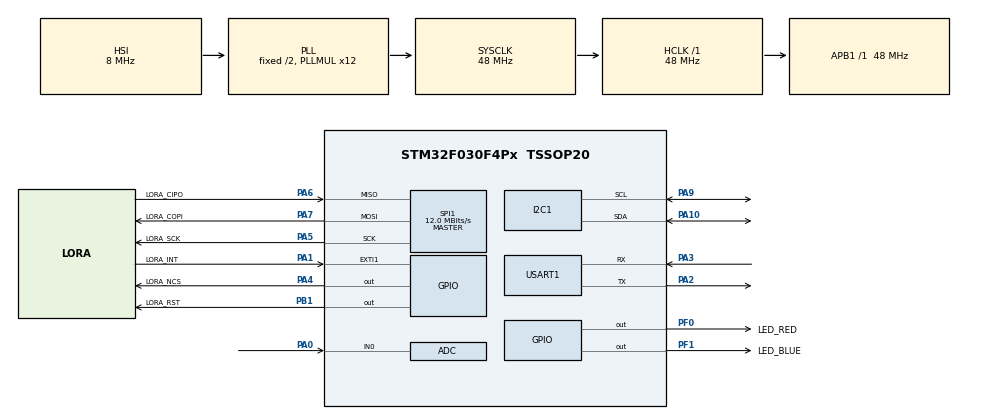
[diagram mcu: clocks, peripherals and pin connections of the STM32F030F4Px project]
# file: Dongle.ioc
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I2C1.Timing=0x20303E5D
Mcu.Family=STM32F0
Mcu.Name=STM32F030F4Px
Mcu.Package=TSSOP20
PA0.Mode=IN0
PA0.Signal=ADC_IN0
PA1.GPIO_Label=LORA_INT
PA1.Signal=GPXTI1
PA10.Mode=I2C
PA10.Signal=I2C1_SDA
PA13.Mode=Serial_Wire
PA13.Signal=SYS_SWDIO
PA14.Mode=Serial_Wire
PA14.Signal=SYS_SWCLK
PA2.Mode=Asynchronous
PA2.Signal=USART1_TX
PA3.Mode=Asynchronous
PA3.Signal=USART1_RX
PA4.GPIO_Label=LORA_NCS
PA4.Signal=GPIO_Output
PA5.GPIO_Label=LORA_SCK
PA5.Mode=Full_Duplex_Master
PA5.Signal=SPI1_SCK
PA6.GPIO_Label=LORA_CIPO
PA6.Mode=Full_Duplex_Master
PA6.Signal=SPI1_MISO
PA7.GPIO_Label=LORA_COPI
PA7.Mode=Full_Duplex_Master
PA7.Signal=SPI1_MOSI
PA9.Mode=I2C
PA9.Signal=I2C1_SCL
PB1.GPIO_Label=LORA_RST
PB1.Signal=GPIO_Output
PF0-OSC_IN.GPIO_Label=LED_RED
PF0-OSC_IN.Signal=GPIO_Output
PF1-OSC_OUT.GPIO_Label=LED_BLUE
PF1-OSC_OUT.Signal=GPIO_Output
ProjectManager.HeapSize=0x200
ProjectManager.StackSize=0x400
ProjectManager.TargetToolchain=Makefile
RCC.AHBFreq_Value=48000000
RCC.APB1Freq_Value=48000000
RCC.APB1TimFreq_Value=48000000
RCC.HCLKFreq_Value=48000000
RCC.HSE_VALUE=12000000
RCC.I2c1ClockSelection=RCC_I2C1CLKSOURCE_SYSCLK
RCC.PLLMUL=RCC_PLL_MUL12
RCC.SYSCLKFreq_VALUE=48000000
RCC.SYSCLKSource=RCC_SYSCLKSOURCE_PLLCLK
SPI1.BaudRatePrescaler=SPI_BAUDRATEPRESCALER_4
SPI1.CalculateBaudRate=12.0 MBits/s
SPI1.Direction=SPI_DIRECTION_2LINES
SPI1.Mode=SPI_MODE_MASTER
SPI1.VirtualType=VM_MASTER
USART1.VirtualMode-Asynchronous=VM_ASYNC
board=custom

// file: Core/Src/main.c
/* USER CODE BEGIN Header */
/**
  ******************************************************************************
  * @file           : main.c
  * @brief          : Main program body
  ******************************************************************************
  * @attention
  *
  * Copyright (c) 2022 STMicroelectronics.
  * All rights reserved.
  *
  * This software is licensed under terms that can be found in the LICENSE file
  * in the root directory of this software component.
  * If no LICENSE file comes with this software, it is provided AS-IS.
  *
  ******************************************************************************
  */
/* USER CODE END Header */
#include "main.h"

/* USER CODE BEGIN Includes */
#include "LoRa.h"
/* USER CODE END Includes */

/* USER CODE BEGIN PTD */
LoRa rxLoRa;
/* USER CODE END PTD */

ADC_HandleTypeDef hadc;

I2C_HandleTypeDef hi2c1;

SPI_HandleTypeDef hspi1;

UART_HandleTypeDef huart1;

/* USER CODE BEGIN PV */
uint8_t receiveData[3] = {0};
uint8_t transmitData[3] = {0};

/* USER CODE END PV */

void SystemClock_Config(void);
static void MX_GPIO_Init(void);
static void MX_ADC_Init(void);
static void MX_I2C1_Init(void);
static void MX_SPI1_Init(void);
static void MX_USART1_UART_Init(void);

int main(void)
{

  /* MCU Configuration--------------------------------------------------------*/

  /* Reset of all peripherals, Initializes the Flash interface and the Systick. */
  HAL_Init();

  /* Configure the system clock */
  SystemClock_Config();

  /* Initialize all configured peripherals */
  MX_GPIO_Init();
  MX_ADC_Init();
  MX_I2C1_Init();
  MX_SPI1_Init();
  MX_USART1_UART_Init();
  /* USER CODE BEGIN 2 */

  rxLoRa = newLoRa();
  rxLoRa.CS_port = LORA_NCS_GPIO_Port;
  rxLoRa.CS_pin = LORA_NCS_Pin;
  rxLoRa.reset_port = LORA_RST_GPIO_Port;
  rxLoRa.reset_pin = LORA_RST_Pin;
  rxLoRa.DIO0_port = LORA_INT_GPIO_Port;
  rxLoRa.DIO0_pin = LORA_INT_Pin;
  rxLoRa.hSPIx = &hspi1;

  rxLoRa.frequency = 433;             // default = 433 MHz
  rxLoRa.spredingFactor = SF_7;       // default = SF_7
  rxLoRa.bandWidth = BW_125KHz;       // default = BW_125KHz
  rxLoRa.crcRate = CR_4_5;            // default = CR_4_5
  rxLoRa.power = POWER_17db;          // default = 20db
  rxLoRa.overCurrentProtection = 100; // default = 100 mA
  rxLoRa.preamble = 10;               // default = 8;

  LoRa_reset(&rxLoRa);
  LoRa_init(&rxLoRa);

  /* USER CODE END 2 */

  /* Infinite loop */
  /* USER CODE BEGIN WHILE */
  LoRa_gotoMode(&rxLoRa, RXCONTIN_MODE);
  while (1)
  {
    /* USER CODE END WHILE */

    /* USER CODE BEGIN 3 */
    // HAL_GPIO_TogglePin(LED_BLUE_GPIO_Port,LED_BLUE_Pin);
    // HAL_Delay(200);
    // HAL_GPIO_TogglePin(LED_RED_GPIO_Port,LED_RED_Pin);
    if (LoRa_receive(&rxLoRa, receiveData, 3) == 3){
      if (receiveData[1] == 1){
        HAL_GPIO_WritePin(LED_BLUE_GPIO_Port,LED_BLUE_Pin,GPIO_PIN_SET);
        HAL_GPIO_WritePin(LED_RED_GPIO_Port,LED_RED_Pin,GPIO_PIN_RESET);
      }
      else if (receiveData[1] == 2){
        HAL_GPIO_WritePin(LED_RED_GPIO_Port,LED_RED_Pin,GPIO_PIN_SET);
        HAL_GPIO_WritePin(LED_BLUE_GPIO_Port,LED_BLUE_Pin,GPIO_PIN_RESET);
      }
    }
  }
  /* USER CODE END 3 */
}

void SystemClock_Config(void)
{
  RCC_OscInitTypeDef RCC_OscInitStruct = {0};
  RCC_ClkInitTypeDef RCC_ClkInitStruct = {0};
  RCC_PeriphCLKInitTypeDef PeriphClkInit = {0};

  /** Initializes the RCC Oscillators according to the specified parameters
  * in the RCC_OscInitTypeDef structure.
  */
  RCC_OscInitStruct.OscillatorType = RCC_OSCILLATORTYPE_HSI|RCC_OSCILLATORTYPE_HSI14;
  RCC_OscInitStruct.HSIState = RCC_HSI_ON;
  RCC_OscInitStruct.HSI14State = RCC_HSI14_ON;
  RCC_OscInitStruct.HSICalibrationValue = RCC_HSICALIBRATION_DEFAULT;
  RCC_OscInitStruct.HSI14CalibrationValue = 16;
  RCC_OscInitStruct.PLL.PLLState = RCC_PLL_ON;
  RCC_OscInitStruct.PLL.PLLSource = RCC_PLLSOURCE_HSI;
  RCC_OscInitStruct.PLL.PLLMUL = RCC_PLL_MUL12;
  RCC_OscInitStruct.PLL.PREDIV = RCC_PREDIV_DIV1;
  if (HAL_RCC_OscConfig(&RCC_OscInitStruct) != HAL_OK)
  {
    Error_Handler();
  }

  /** Initializes the CPU, AHB and APB buses clocks
  */
  RCC_ClkInitStruct.ClockType = RCC_CLOCKTYPE_HCLK|RCC_CLOCKTYPE_SYSCLK
                              |RCC_CLOCKTYPE_PCLK1;
  RCC_ClkInitStruct.SYSCLKSource = RCC_SYSCLKSOURCE_PLLCLK;
  RCC_ClkInitStruct.AHBCLKDivider = RCC_SYSCLK_DIV1;
  RCC_ClkInitStruct.APB1CLKDivider = RCC_HCLK_DIV1;

  if (HAL_RCC_ClockConfig(&RCC_ClkInitStruct, FLASH_LATENCY_1) != HAL_OK)
  {
    Error_Handler();
  }
  PeriphClkInit.PeriphClockSelection = RCC_PERIPHCLK_USART1|RCC_PERIPHCLK_I2C1;
  PeriphClkInit.Usart1ClockSelection = RCC_USART1CLKSOURCE_PCLK1;
  PeriphClkInit.I2c1ClockSelection = RCC_I2C1CLKSOURCE_SYSCLK;
  if (HAL_RCCEx_PeriphCLKConfig(&PeriphClkInit) != HAL_OK)
  {
    Error_Handler();
  }
}

static void MX_ADC_Init(void)
{

  ADC_ChannelConfTypeDef sConfig = {0};

  /** Configure the global features of the ADC (Clock, Resolution, Data Alignment and number of conversion)
  */
  hadc.Instance = ADC1;
  hadc.Init.ClockPrescaler = ADC_CLOCK_ASYNC_DIV1;
  hadc.Init.Resolution = ADC_RESOLUTION_12B;
  hadc.Init.DataAlign = ADC_DATAALIGN_RIGHT;
  hadc.Init.ScanConvMode = ADC_SCAN_DIRECTION_FORWARD;
  hadc.Init.EOCSelection = ADC_EOC_SINGLE_CONV;
  hadc.Init.LowPowerAutoWait = DISABLE;
  hadc.Init.LowPowerAutoPowerOff = DISABLE;
  hadc.Init.ContinuousConvMode = DISABLE;
  hadc.Init.DiscontinuousConvMode = DISABLE;
  hadc.Init.ExternalTrigConv = ADC_SOFTWARE_START;
  hadc.Init.ExternalTrigConvEdge = ADC_EXTERNALTRIGCONVEDGE_NONE;
  hadc.Init.DMAContinuousRequests = DISABLE;
  hadc.Init.Overrun = ADC_OVR_DATA_PRESERVED;
  if (HAL_ADC_Init(&hadc) != HAL_OK)
  {
    Error_Handler();
  }

  /** Configure for the selected ADC regular channel to be converted.
  */
  sConfig.Channel = ADC_CHANNEL_0;
  sConfig.Rank = ADC_RANK_CHANNEL_NUMBER;
  sConfig.SamplingTime = ADC_SAMPLETIME_1CYCLE_5;
  if (HAL_ADC_ConfigChannel(&hadc, &sConfig) != HAL_OK)
  {
    Error_Handler();
  }

}

static void MX_I2C1_Init(void)
{

  hi2c1.Instance = I2C1;
  hi2c1.Init.Timing = 0x20303E5D;
  hi2c1.Init.OwnAddress1 = 0;
  hi2c1.Init.AddressingMode = I2C_ADDRESSINGMODE_7BIT;
  hi2c1.Init.DualAddressMode = I2C_DUALADDRESS_DISABLE;
  hi2c1.Init.OwnAddress2 = 0;
  hi2c1.Init.OwnAddress2Masks = I2C_OA2_NOMASK;
  hi2c1.Init.GeneralCallMode = I2C_GENERALCALL_DISABLE;
  hi2c1.Init.NoStretchMode = I2C_NOSTRETCH_DISABLE;
  if (HAL_I2C_Init(&hi2c1) != HAL_OK)
  {
    Error_Handler();
  }

  /** Configure Analogue filter
  */
  if (HAL_I2CEx_ConfigAnalogFilter(&hi2c1, I2C_ANALOGFILTER_ENABLE) != HAL_OK)
  {
    Error_Handler();
  }

  /** Configure Digital filter
  */
  if (HAL_I2CEx_ConfigDigitalFilter(&hi2c1, 0) != HAL_OK)
  {
    Error_Handler();
  }

}

static void MX_SPI1_Init(void)
{

  /* SPI1 parameter configuration*/
  hspi1.Instance = SPI1;
  hspi1.Init.Mode = SPI_MODE_MASTER;
  hspi1.Init.Direction = SPI_DIRECTION_2LINES;
  hspi1.Init.DataSize = SPI_DATASIZE_4BIT;
  hspi1.Init.CLKPolarity = SPI_POLARITY_LOW;
  hspi1.Init.CLKPhase = SPI_PHASE_1EDGE;
  hspi1.Init.NSS = SPI_NSS_SOFT;
  hspi1.Init.BaudRatePrescaler = SPI_BAUDRATEPRESCALER_4;
  hspi1.Init.FirstBit = SPI_FIRSTBIT_MSB;
  hspi1.Init.TIMode = SPI_TIMODE_DISABLE;
  hspi1.Init.CRCCalculation = SPI_CRCCALCULATION_DISABLE;
  hspi1.Init.CRCPolynomial = 7;
  hspi1.Init.CRCLength = SPI_CRC_LENGTH_DATASIZE;
  hspi1.Init.NSSPMode = SPI_NSS_PULSE_ENABLE;
  if (HAL_SPI_Init(&hspi1) != HAL_OK)
  {
    Error_Handler();
  }

}

static void MX_USART1_UART_Init(void)
{

  huart1.Instance = USART1;
  huart1.Init.BaudRate = 38400;
  huart1.Init.WordLength = UART_WORDLENGTH_8B;
  huart1.Init.StopBits = UART_STOPBITS_1;
  huart1.Init.Parity = UART_PARITY_NONE;
  huart1.Init.Mode = UART_MODE_TX_RX;
  huart1.Init.HwFlowCtl = UART_HWCONTROL_NONE;
  huart1.Init.OverSampling = UART_OVERSAMPLING_16;
  huart1.Init.OneBitSampling = UART_ONE_BIT_SAMPLE_DISABLE;
  huart1.AdvancedInit.AdvFeatureInit = UART_ADVFEATURE_NO_INIT;
  if (HAL_UART_Init(&huart1) != HAL_OK)
  {
    Error_Handler();
  }

}

static void MX_GPIO_Init(void)
{
  GPIO_InitTypeDef GPIO_InitStruct = {0};

  /* GPIO Ports Clock Enable */
  __HAL_RCC_GPIOF_CLK_ENABLE();
  __HAL_RCC_GPIOA_CLK_ENABLE();
  __HAL_RCC_GPIOB_CLK_ENABLE();

  /*Configure GPIO pin Output Level */
  HAL_GPIO_WritePin(GPIOF, LED_RED_Pin|LED_BLUE_Pin, GPIO_PIN_RESET);

  /*Configure GPIO pin Output Level */
  HAL_GPIO_WritePin(LORA_NCS_GPIO_Port, LORA_NCS_Pin, GPIO_PIN_RESET);

  /*Configure GPIO pin Output Level */
  HAL_GPIO_WritePin(LORA_RST_GPIO_Port, LORA_RST_Pin, GPIO_PIN_RESET);

  /*Configure GPIO pins : LED_RED_Pin LED_BLUE_Pin */
  GPIO_InitStruct.Pin = LED_RED_Pin|LED_BLUE_Pin;
  GPIO_InitStruct.Mode = GPIO_MODE_OUTPUT_PP;
  GPIO_InitStruct.Pull = GPIO_NOPULL;
  GPIO_InitStruct.Speed = GPIO_SPEED_FREQ_LOW;
  HAL_GPIO_Init(GPIOF, &GPIO_InitStruct);

  /*Configure GPIO pin : LORA_INT_Pin */
  GPIO_InitStruct.Pin = LORA_INT_Pin;
  GPIO_InitStruct.Mode = GPIO_MODE_IT_RISING;
  GPIO_InitStruct.Pull = GPIO_NOPULL;
  HAL_GPIO_Init(LORA_INT_GPIO_Port, &GPIO_InitStruct);

  /*Configure GPIO pin : LORA_NCS_Pin */
  GPIO_InitStruct.Pin = LORA_NCS_Pin;
  GPIO_InitStruct.Mode = GPIO_MODE_OUTPUT_PP;
  GPIO_InitStruct.Pull = GPIO_NOPULL;
  GPIO_InitStruct.Speed = GPIO_SPEED_FREQ_LOW;
  HAL_GPIO_Init(LORA_NCS_GPIO_Port, &GPIO_InitStruct);

  /*Configure GPIO pin : LORA_RST_Pin */
  GPIO_InitStruct.Pin = LORA_RST_Pin;
  GPIO_InitStruct.Mode = GPIO_MODE_OUTPUT_PP;
  GPIO_InitStruct.Pull = GPIO_NOPULL;
  GPIO_InitStruct.Speed = GPIO_SPEED_FREQ_LOW;
  HAL_GPIO_Init(LORA_RST_GPIO_Port, &GPIO_InitStruct);

}

/* USER CODE BEGIN 4 */

void HAL_GPIO_EXTI_Callback(uint16_t GPIO_Pin)
{
  // if (GPIO_Pin == rxLoRa.DIO0_pin)
  // {
  //   if (LoRa_receive(&rxLoRa, receiveData, 3) == 3){
  //     if (receiveData[1] == 1){
  //       HAL_GPIO_WritePin(LED_BLUE_GPIO_Port,LED_BLUE_Pin,GPIO_PIN_SET);
  //       HAL_GPIO_WritePin(LED_RED_GPIO_Port,LED_RED_Pin,GPIO_PIN_RESET);
  //     }
  //     else if (receiveData[1] == 2){
  //       HAL_GPIO_WritePin(LED_RED_GPIO_Port,LED_RED_Pin,GPIO_PIN_SET);
  //       HAL_GPIO_WritePin(LED_BLUE_GPIO_Port,LED_BLUE_Pin,GPIO_PIN_RESET);
  //     }
  //   }
  // }
}

/* USER CODE END 4 */

void Error_Handler(void)
{
  __disable_irq();
  while (1)
  {
  }
}
